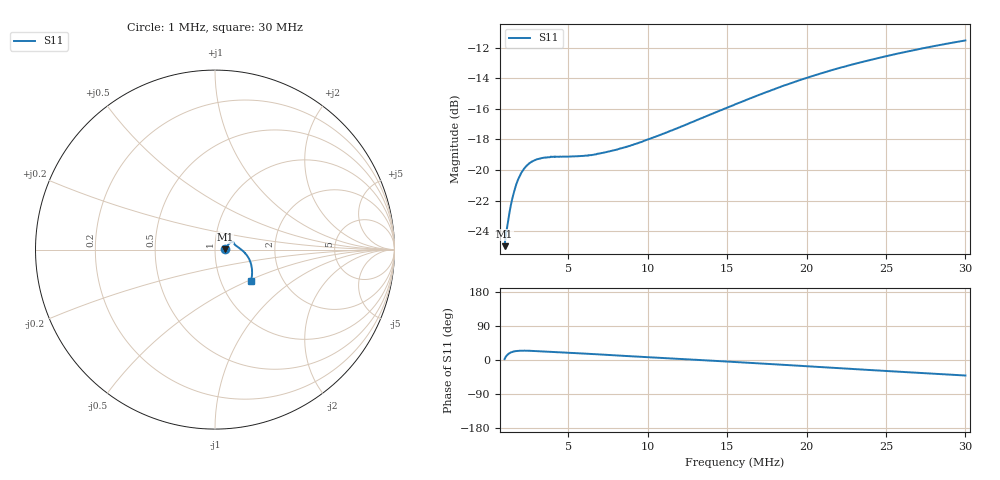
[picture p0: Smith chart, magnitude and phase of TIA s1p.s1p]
# HZ S RI R 50
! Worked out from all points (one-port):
!   1010 points, 1 MHz to 30 MHz, reference 50 ohm
!   lowest |S11| = -25.0 dB at 1 MHz (marker M1), VSWR 1.12, Z = 56 + j0.272 ohm
!   |S11| at or under -10 dB: start of sweep to end of sweep
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1000000  0.0563 0.00242
1086223  0.0608 0.00991
1229928  0.0663 0.0188
1344892  0.0705 0.0241
1459856  0.0743 0.0286
1574820  0.0777 0.0322
1718525  0.0819 0.0356
1862230  0.0853 0.0383
2005935  0.0882 0.0402
2178381  0.091 0.0418
2350827  0.0936 0.0427
2552014  0.0959 0.0433
3040611  0.0995 0.0431
3816618  0.1023 0.0409
4650107  0.1039 0.0377
5569819  0.1056 0.0341
6432049  0.1075 0.0308
7265538  0.1106 0.0276
8271473  0.1152 0.0235
9536077  0.1218 0.0183
1.189284e7  0.1371 0.00752
1.55142e7  0.1634 -0.0153
1.913557e7  0.1875 -0.0475
2.086003e7  0.196 -0.0658
2.275694e7  0.2025 -0.0874
2.445266e7  0.2058 -0.1075
2.63783e7  0.2065 -0.1305
2.999967e7  0.2006 -0.1739
